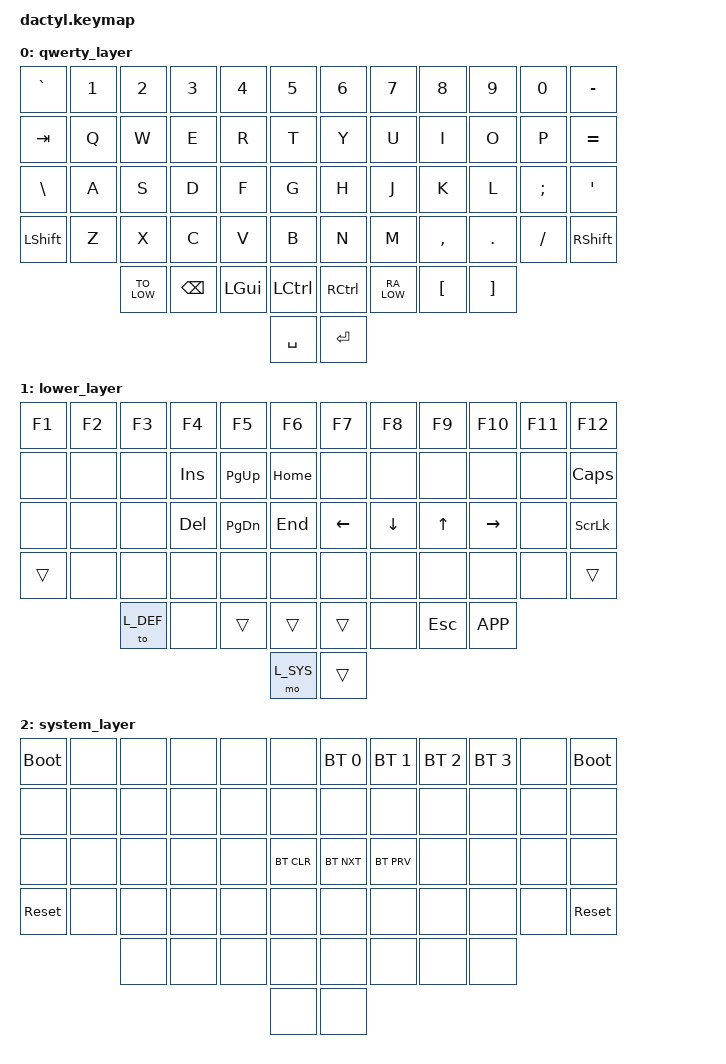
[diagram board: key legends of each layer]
#include <behaviors.dtsi>
#include <dt-bindings/zmk/keys.h>
#include <dt-bindings/zmk/bt.h>
#include <dt-bindings/zmk/ext_power.h>

#define L_DEF 0
#define L_LOW 1
#define L_SYS 2

/ {
    behaviors {
        RA_LOW: mod_morph_ralt_l_low {
            compatible = "zmk,behavior-mod-morph";
            #binding-cells = <0>;
            bindings = <&kp RALT>, <&mo L_LOW>;
            mods = <(MOD_LSFT|MOD_LALT|MOD_LGUI|MOD_LCTL|MOD_RSFT)>;
            keep-mods = <(MOD_LSFT|MOD_LALT|MOD_LGUI|MOD_LCTL|MOD_RSFT)>;
        };
        LA_GUI: tap_dance_lalt_l_gui {
            compatible = "zmk,behavior-tap-dance";
            #binding-cells = <0>;
            tapping-term-ms = <200>;
            bindings = <&kp LALT>, <&kp LGUI>;
        };
        TO_LOW: tap_dance_caps_word_to_low {
            compatible = "zmk,behavior-tap-dance";
            #binding-cells = <0>;
            tapping-term-ms = <200>;
            bindings = <&caps_word>, <&to L_LOW>;
        };
    };

    keymap {
        compatible = "zmk,keymap";

/* QWERTY
 *  ┌───────┬──────┬──────┬──────┬──────┬──────┐                                                   ┌──────┬──────┬──────┬──────┬──────┬──────┐
 *  │  `    │   1  │   2  │   3  │   4  │   5  │                                                   │   6  │   7  │   8  │   9  │   0  │  -   │
 *  ├───────┼──────┼──────┼──────┼──────┼──────┤                                                   ├──────┼──────┼──────┼──────┼──────┼──────┤
 *  │ Tab   │   Q  │   W  │   E  │   R  │   T  │                                                   │   Y  │   U  │   I  │   O  │   P  │  =   │
 *  ├───────┼──────┼──────┼──────┼──────┼──────┤                                                   ├──────┼──────┼──────┼──────┼──────┼──────┤
 *  │  \    │   A  │   S  │   D  │   F  │   G  │                                                   │   H  │   J  │   K  │   L  │   ;  │  '   │
 *  ├───────┼──────┼──────┼──────┼──────┼──────┤                                                   ├──────┼──────┼──────┼──────┼──────┼──────┤
 *  │LSHIFT │   Z  │   X  │   C  │   V  │   B  │                                                   │   N  │   M  │   ,  │   .  │   /  │RSHIFT│
 *  └───────┴──────┼──────┼──────┼──────┼──────┤                                                   ├──────┼──────┼──────┼──────┼──────┴──────┘
 *                 │TO_LOW│ BSPC │ LGUI │ LCTL │                                                   │ RCTL │RA_LOW│   [  │   ]  │
 *                 └──────┴──────┴──────┴────┬─┴────┐                                         ┌────┴─┬────┴──────┴──────┴──────┘
 *                                           │   ␣  │                                         │ RET  │
 *                                           └──────┘                                         └──────┘
 */
        qwerty_layer {
            bindings = <
&kp GRAVE    &kp N1        &kp N2        &kp N3        &kp N4        &kp N5                  &kp N6          &kp N7        &kp N8        &kp N9        &kp N0        &kp MINUS
&kp TAB      &kp Q         &kp W         &kp E         &kp R         &kp T                   &kp Y           &kp U         &kp I         &kp O         &kp P         &kp EQUAL
&kp BSLH     &kp A         &kp S         &kp D         &kp F         &kp G                   &kp H           &kp J         &kp K         &kp L         &kp SEMI      &kp SQT
&kp LSHFT    &kp Z         &kp X         &kp C         &kp V         &kp B                   &kp N           &kp M         &kp COMMA     &kp DOT       &kp FSLH      &kp RSHFT
                           &TO_LOW       &kp BSPC      &kp LGUI      &kp LCTRL               &kp RCTRL       &RA_LOW       &kp LBKT      &kp RBKT
                                                                     &kp SPACE               &kp RET
            >;
        };

/* LOWER
 *  ┌──────┬──────┬──────┬──────┬──────┬──────┐                                                   ┌──────┬──────┬──────┬──────┬──────┬──────┐
 *  │  F1  │  F2  │  F3  │  F4  │  F5  │  F6  │                                                   │  F7  │  F8  │  F9  │ F10  │ F11  │ F12  │
 *  ├──────┼──────┼──────┼──────┼──────┼──────┤                                                   ├──────┼──────┼──────┼──────┼──────┼──────┤
 *  │      │      │      │ INS  │ PGUP │ HOME │                                                   │      │      │      │      │      │ CAPS │
 *  ├──────┼──────┼──────┼──────┼──────┼──────┤                                                   ├──────┼──────┼──────┼──────┼──────┼──────┤
 *  │      │      │      │ DEL  │ PGDN │ END  │                                                   │ LEFT │ DOWN │  UP  │ RGHT │      │ SCRL │
 *  ├──────┼──────┼──────┼──────┼──────┼──────┤                                                   ├──────┼──────┼──────┼──────┼──────┼──────┤
 *  │TRANSP│      │      │      │      │      │                                                   │      │      │      │      │      │TRANSP│
 *  └──────┴──────┼──────┼──────┼──────┼──────┤                                                   ├──────┼──────┼──────┼──────┼──────┴──────┘
 *                │L_DEF │      │TRANSP│TRANSP│                                                   │TRANSP│      │ ESC  │ APP  │
 *                └──────┴──────┴──────┴────┬─┴────┐                                         ┌────┴─┬────┴──────┴──────┴──────┘
 *                                          │L_SYS │                                         │TRANSP│                     
 *                                          └──────┘                                         └──────┘                     
 */
        lower_layer {
            bindings = <
&kp F1       &kp F2        &kp F3        &kp F4        &kp F5        &kp F6                  &kp F7          &kp F8        &kp F9        &kp F10       &kp F11      &kp F12
&none        &none         &none         &kp INS       &kp PG_UP     &kp HOME                &none           &none         &none         &none         &none        &kp CAPS
&none        &none         &none         &kp DEL       &kp PG_DN     &kp END                 &kp LEFT        &kp DOWN      &kp UP        &kp RIGHT     &none        &kp SLCK
&trans       &none         &none         &none         &none         &none                   &none           &none         &none         &none         &none        &trans   
                           &to L_DEF     &none         &trans        &trans                  &trans          &none         &kp ESC       &kp K_APP 
                                                                     &mo L_SYS               &trans
             >;
        };

/* SYSTEM
 *  ┌──────┬──────┬──────┬──────┬──────┬──────┐                                                   ┌──────┬──────┬──────┬──────┬──────┬──────┐
 *  │BOOTL │      │      │      │      │      │                                                   │BSEL0 │BSEL1 │BSEL2 │BSEL3 │      │BOOTL │
 *  ├──────┼──────┼──────┼──────┼──────┼──────┤                                                   ├──────┼──────┼──────┼──────┼──────┼──────┤
 *  │      │      │      │      │      │      │                                                   │      │      │      │      │      │      │
 *  ├──────┼──────┼──────┼──────┼──────┼──────┤                                                   ├──────┼──────┼──────┼──────┼──────┼──────┤
 *  │      │      │      │      │      │BCLEAR│                                                   │BNEXT │BPREV │      │      │      │      │
 *  ├──────┼──────┼──────┼──────┼──────┼──────┤                                                   ├──────┼──────┼──────┼──────┼──────┼──────┤
 *  │RESET │      │      │      │      │      │                                                   │      │      │      │      │      │RESET │
 *  └──────┴──────┼──────┼──────┼──────┼──────┤                                                   ├──────┼──────┼──────┼──────┼──────┴──────┘
 *                │      │      │      │      │                                                   │      │      │      │      │
 *                ┴──────┴──────┴──────┴────┬─┴────┐                                         ┌────┴─┬────┴──────┴──────┴──────┘
 *                                          │      │                                         │      │                     
 *                                          └──────┘                                         └──────┘                     
 */
        system_layer {
            bindings = <
&bootloader  &none         &none         &none         &none         &none                   &bt BT_SEL 0    &bt BT_SEL 1  &bt BT_SEL 2  &bt BT_SEL 3  &none         &bootloader
&none        &none         &none         &none         &none         &none                   &none           &none         &none         &none         &none         &none
&none        &none         &none         &none         &none         &bt BT_CLR              &bt BT_NXT      &bt BT_PRV    &none         &none         &none         &none
&sys_reset   &none         &none         &none         &none         &none                   &none           &none         &none         &none         &none         &sys_reset
                           &none         &none         &none         &none                   &none           &none         &none         &none
                                                                     &none                   &none
            >;
        };
    };
};

// vim: colorcolumn=14,28,42,56,70,94,110,124,138,152,166 nowrap
